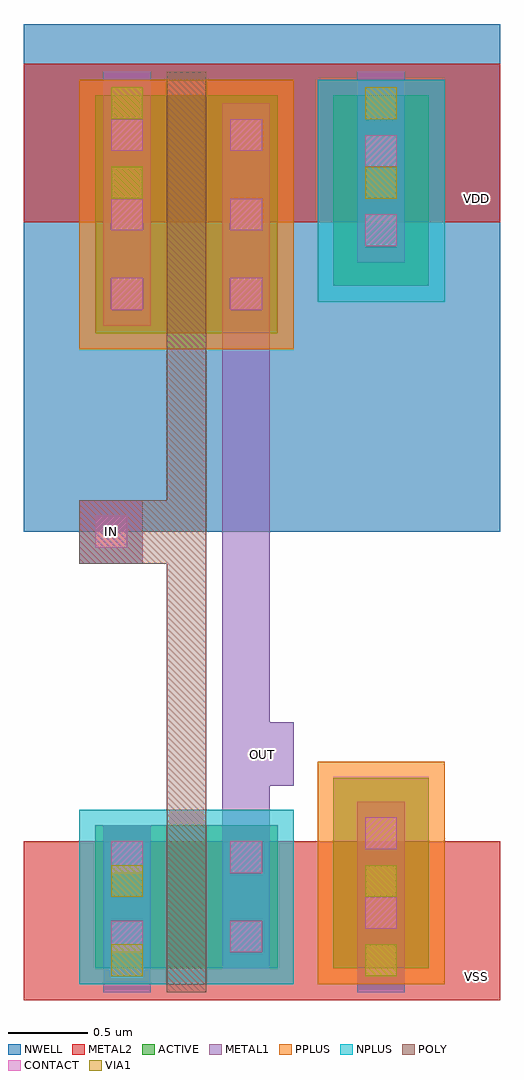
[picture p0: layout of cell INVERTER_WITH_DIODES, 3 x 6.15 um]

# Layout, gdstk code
import gdstk
lib = gdstk.Library(unit=1e-6, precision=1e-09)
def R(c, l, rs):  # rectangles x0, y0, x1, y1
    for r in rs: c.add(gdstk.rectangle(r[:2], r[2:], *l))
def A(c, l, x, y, w, h, nx, ny, dx, dy):  # array of equal rectangles
    R(c, l, [(x+i*dx, y+j*dy, x+i*dx+w, y+j*dy+h) for i in range(nx) for j in range(ny)])
NWELL = (1, 0)
ACTIVE = (2, 0)
PPLUS = (3, 0)
NPLUS = (4, 0)
POLY = (5, 0)
CONTACT = (6, 0)
METAL1 = (7, 0)
VIA1 = (8, 0)
METAL2 = (9, 0)

inverter_with_diodes = lib.new_cell('INVERTER_WITH_DIODES')
R(inverter_with_diodes, NWELL, [(0,2.95,3,6.15)])
R(inverter_with_diodes, ACTIVE, [(0.45,0.2,1.6,1.1), (1.95,0.2,2.55,1.4), (0.45,4.2,1.6,5.7), (1.95,4.5,2.55,5.7)])
R(inverter_with_diodes, PPLUS, [(1.85,0.1,2.65,1.5), (0.35,4.1,1.7,5.8)])
R(inverter_with_diodes, NPLUS, [(0.35,0.1,1.7,1.2), (1.85,4.4,2.65,5.8)])
R(inverter_with_diodes, POLY, [(0.9,0.05,1.15,1.1), (0.9,1.1,1.15,4.2), (0.35,2.75,0.9,3.15), (0.9,4.2,1.15,5.85)])
A(inverter_with_diodes, CONTACT, 0.55, 4.35, 0.2, 0.2, 1, 3, 0, 0.5)
A(inverter_with_diodes, CONTACT, 1.3, 4.35, 0.2, 0.2, 1, 3, 0, 0.5)
R(inverter_with_diodes, CONTACT, [(0.55,0.3,0.75,0.5), (1.3,0.3,1.5,0.5), (2.15,0.45,2.35,0.65), (0.55,0.8,0.75,1), (1.3,0.8,1.5,1), (2.15,0.95,2.35,1.15), (0.45,2.85,0.65,3.05), (2.15,4.75,2.35,4.95), (2.15,5.25,2.35,5.45)])
R(inverter_with_diodes, METAL1, [(0.5,0.05,0.8,1.1), (2.1,0.05,2.4,1.25), (1.25,0.2,1.55,1.05), (1.25,1.05,1.55,4.25), (1.25,1.35,1.7,1.75), (0.35,2.75,0.75,3.15), (0.5,4.25,0.8,5.85), (1.25,4.25,1.55,5.65), (2.1,4.65,2.4,5.85)])
R(inverter_with_diodes, VIA1, [(0.55,0.15,0.75,0.35), (2.15,0.15,2.35,0.35), (0.55,0.65,0.75,0.85), (2.15,0.65,2.35,0.85), (0.55,5.05,0.75,5.25), (2.15,5.05,2.35,5.25), (0.55,5.55,0.75,5.75), (2.15,5.55,2.35,5.75)])
R(inverter_with_diodes, METAL2, [(0,0,3,1), (0,4.9,3,5.9)])
inverter_with_diodes.add(gdstk.Label('IN', (0.55,2.95), layer=7, texttype=1))
inverter_with_diodes.add(gdstk.Label('OUT', (1.5,1.55), layer=7, texttype=1))
inverter_with_diodes.add(gdstk.Label('VSS', (2.85,0.15), layer=9, texttype=1))
inverter_with_diodes.add(gdstk.Label('VDD', (2.85,5.05), layer=9, texttype=1))

lib.write_gds('INVERTER_WITH_DIODES.gds')
